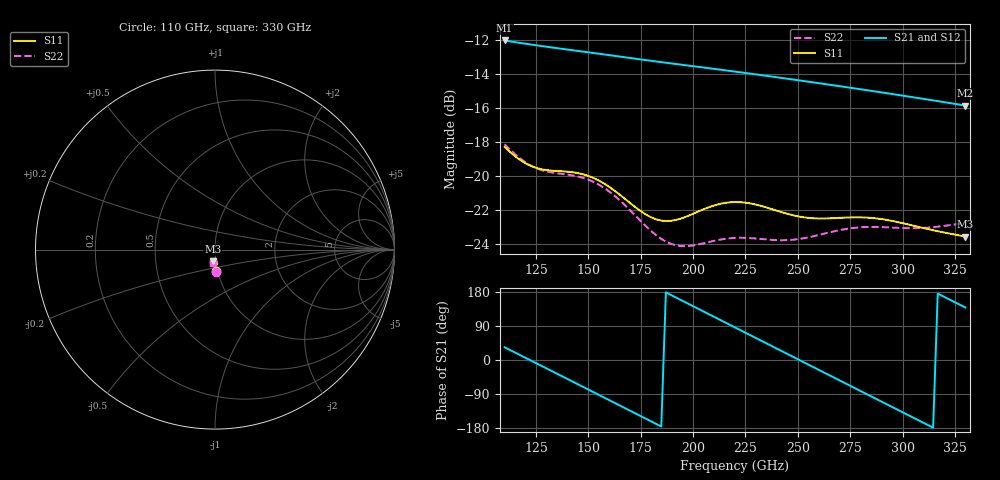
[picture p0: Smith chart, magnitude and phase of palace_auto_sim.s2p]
#  GHZ S DB R 50
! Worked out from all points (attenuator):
!   101 points, 110 GHz to 330 GHz, reference 50 ohm
!   highest |S21| = -12.00 dB at 110 GHz (marker M1); lowest = -15.8 dB at 330 GHz (marker M2)
!   lowest |S11| = -23.5 dB at 330 GHz (marker M3), VSWR 1.14, Z = 48.3 - j6.33 ohm
!   |S11| at or under -10 dB: start of sweep to end of sweep
!   |S22| runs from -24.1 to -18.1 dB; largest |S21 - S12| = 2.8e-13
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110  -18.26 -86.3  -12.00 33.6  -12.00 33.6  -18.10 -88.0
118.8  -19.14 -85.2  -12.17 9.1  -12.17 9.1  -19.07 -87.5
127.6  -19.58 -83.3  -12.33 -15.4  -12.33 -15.4  -19.63 -86.0
138.6  -19.71 -83.5  -12.51 -46.2  -12.51 -46.2  -19.87 -86.3
147.4  -19.88 -85.9  -12.66 -70.8  -12.66 -70.8  -20.09 -88.9
156.2  -20.33 -89.1  -12.80 -95.4  -12.80 -95.4  -20.58 -92.7
165  -21.08 -91.2  -12.95 -120.1  -12.95 -120.1  -21.41 -95.9
176  -22.13 -90.0  -13.13 -150.8  -13.13 -150.8  -22.75 -96.5
184.8  -22.60 -86.1  -13.28 -175.4  -13.28 -175.4  -23.68 -93.2
193.6  -22.50 -82.2  -13.42 159.9  -13.42 159.9  -24.09 -88.2
204.6  -21.95 -81.1  -13.59 129.2  -13.59 129.2  -23.95 -83.9
220  -21.51 -85.6  -13.83 86.0  -13.83 86.0  -23.62 -83.5
228.8  -21.63 -88.9  -13.98 61.3  -13.98 61.3  -23.64 -84.2
239.8  -22.01 -91.5  -14.16 30.5  -14.16 30.5  -23.75 -84.1
248.6  -22.31 -92.1  -14.32 5.9  -14.32 5.9  -23.71 -83.4
257.4  -22.46 -92.0  -14.47 -18.8  -14.47 -18.8  -23.52 -83.2
268.4  -22.45 -92.5  -14.66 -49.5  -14.66 -49.5  -23.20 -84.4
277.2  -22.41 -93.9  -14.82 -74.1  -14.82 -74.1  -23.02 -86.4
286  -22.45 -95.8  -14.98 -98.7  -14.98 -98.7  -22.97 -88.7
294.8  -22.61 -97.8  -15.15 -123.3  -15.15 -123.3  -23.01 -90.7
312.4  -23.11 -100.2  -15.49 -172.4  -15.49 -172.4  -23.01 -93.4
330  -23.54 -101.2  -15.83 138.5  -15.83 138.5  -22.76 -97.6
